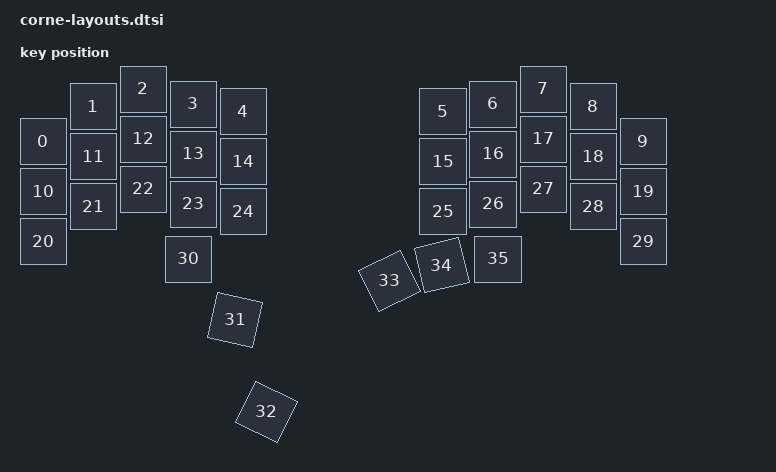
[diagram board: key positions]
/*
 * FILE: corne-layouts.dtsi
 *
 * Physical key layout for the Corne keyboard, consumed by ZMK Studio.
 * Included by corne.dtsi, so it is shared across both halves automatically.
 *
 * This file tells ZMK Studio the exact physical position (x, y), size (w, h),
 * and rotation angle of every key on the PCB — 36 keys active across both
 * halves.  Without this, the Studio visual editor cannot render the keyboard
 * correctly for live remapping over USB or BLE.
 *
 * It also contains the position map (corne_position_map) that bridges logical
 * matrix indices used by keymap layer arrays to physical key positions shown
 * in the editor GUI.
 *
 * Edit this file when you need to:
 *   - Correct the physical position or rotation of a key in ZMK Studio
 *   - Add or remove keys if you build a modified Corne variant
 *   - Adjust the position map after changing the matrix row/column count
 *
 * Units: all coordinates and sizes are in 1/100 U, where 100 = one standard
 * 1u key ≈ 19.05 mm.  Rotation values are in 1/100 degree.
 */

#include <physical_layouts.dtsi>

/* ─── Physical Layout ────────────────────────────────────────────────────────── */

/ {
    /* layout_0 describes the precise physical position, size, and rotation of
     * every key on the Corne PCB.  ZMK Studio uses this data to render the
     * visual keymap editor with accurate key shapes and angles.
     *
     * Each key uses key_physical_attrs with seven parameters:
     *
     *   w   — key width,  in 1/100 U  (100 = one standard 1u key ≈ 19.05 mm)
     *   h   — key height, in 1/100 U
     *   x   — left-edge X from the keyboard origin, in 1/100 U
     *   y   — top-edge  Y from the keyboard origin, in 1/100 U
     *   rot — rotation angle in 1/100 degree (positive = clockwise)
     *         0 = no rotation
     *   rx  — X coordinate of the rotation center, in 1/100 U
     *   ry  — Y coordinate of the rotation center, in 1/100 U
     *         Both are 0 when the key has no rotation (rx/ry are irrelevant).
     *
     * The Corne's column-stagger is reflected in the varying y values: the
     * middle-finger column sits highest (smallest y), the pinky lowest.
     *
     * All 36 keys are listed in keymap-index order:
     *   Indices  0-9   = top row    (left 0-4,  right  5-9)
     *   Indices 10-19  = home row   (left 10-14, right 15-19)
     *   Indices 20-29  = bottom row (left 20-24, right 25-29)
     *   Indices 30-35  = thumb row  (left 30-32, right 33-35) */
    layout_0: layout_0 {
        compatible = "zmk,physical-layout";
        display-name = "LAYOUT";

        /* Links this layout to its scan driver and matrix transform so ZMK
         * knows which hardware maps onto which physical key positions. */
        kscan = <&kscan0>;
        transform = <&default_transform>;

        keys  //                     w   h    x    y     rot    rx    ry

            /* ── Top row — left half (outer/pinky → inner/index) ─────────────── */
            /* Index 0: left-ring top */
            = <&key_physical_attrs 100 100  100  105       0     0     0>
            /* Index 1: left-middle top — raised high relative to pinky (y=35) */
            , <&key_physical_attrs 100 100  200   35       0     0     0>
            /* Index 2: left-index top — tallest column position (y=0, at origin) */
            , <&key_physical_attrs 100 100  300    0       0     0     0>
            /* Index 3: left inner-index top — steps back down slightly */
            , <&key_physical_attrs 100 100  400   30       0     0     0>
            /* Index 4: left innermost-column top (closest to split gap) */
            , <&key_physical_attrs 100 100  500   45       0     0     0>

            /* ── Top row — right half (inner/index → outer/pinky) ─────────────── */
            /* Index 5: right innermost-column top — mirrors left index 4 */
            , <&key_physical_attrs 100 100  900   45       0     0     0>
            /* Index 6: right inner-index top */
            , <&key_physical_attrs 100 100 1000   30       0     0     0>
            /* Index 7: right-index top — tallest column on the right half */
            , <&key_physical_attrs 100 100 1100    0       0     0     0>
            /* Index 8: right-middle top — raised column */
            , <&key_physical_attrs 100 100 1200   35       0     0     0>
            /* Index 9: right-ring top */
            , <&key_physical_attrs 100 100 1300  105       0     0     0>

            /* ── Home row — left half ────────────────────────────────────────── */
            /* Each key is exactly 100 units (1u) below its top-row counterpart. */
            /* Index 10: left-ring home */
            , <&key_physical_attrs 100 100  100  205       0     0     0>
            /* Index 11: left-middle home */
            , <&key_physical_attrs 100 100  200  135       0     0     0>
            /* Index 12: left-index home */
            , <&key_physical_attrs 100 100  300  100       0     0     0>
            /* Index 13: left inner-index home */
            , <&key_physical_attrs 100 100  400  130       0     0     0>
            /* Index 14: left innermost-column home */
            , <&key_physical_attrs 100 100  500  145       0     0     0>

            /* ── Home row — right half ───────────────────────────────────────── */
            /* Index 15: right innermost-column home */
            , <&key_physical_attrs 100 100  900  145       0     0     0>
            /* Index 16: right inner-index home */
            , <&key_physical_attrs 100 100 1000  130       0     0     0>
            /* Index 17: right-index home */
            , <&key_physical_attrs 100 100 1100  100       0     0     0>
            /* Index 18: right-middle home */
            , <&key_physical_attrs 100 100 1200  135       0     0     0>
            /* Index 19: right-ring home */
            , <&key_physical_attrs 100 100 1300  205       0     0     0>

            /* ── Bottom row — left half ──────────────────────────────────────── */
            /* Index 20: left-ring bottom */
            , <&key_physical_attrs 100 100  100  305       0     0     0>
            /* Index 21: left-middle bottom */
            , <&key_physical_attrs 100 100  200  235       0     0     0>
            /* Index 22: left-index bottom */
            , <&key_physical_attrs 100 100  300  200       0     0     0>
            /* Index 23: left inner-index bottom */
            , <&key_physical_attrs 100 100  400  230       0     0     0>
            /* Index 24: left innermost-column bottom */
            , <&key_physical_attrs 100 100  500  245       0     0     0>

            /* ── Bottom row — right half ─────────────────────────────────────── */
            /* Index 25: right innermost-column bottom */
            , <&key_physical_attrs 100 100  900  245       0     0     0>
            /* Index 26: right inner-index bottom */
            , <&key_physical_attrs 100 100 1000  230       0     0     0>
            /* Index 27: right-index bottom */
            , <&key_physical_attrs 100 100 1100  200       0     0     0>
            /* Index 28: right-middle bottom */
            , <&key_physical_attrs 100 100 1200  235       0     0     0>
            /* Index 29: right-ring bottom */
            , <&key_physical_attrs 100 100 1300  305       0     0     0>

            /* ── Thumb cluster — left half ───────────────────────────────────── */
            /* The three left thumb keys fan outward from the wrist toward the
             * palm.  Keys 31 and 32 carry rotation so they follow the natural
             * arc of the thumb rather than sitting in a straight horizontal row.
             *
             * Rotation center coordinates (rx, ry) define the pivot point.
             * The key's (x, y) position is where the key sits BEFORE rotation;
             * after rotation the key visually moves around its pivot. */

            /* Index 30: left thumb outer — no rotation, flat anchor key. */
            , <&key_physical_attrs 100 100  390  340       0     0     0>

            /* Index 31: left thumb middle — rotated +13° clockwise (rot=1300).
             * Pivot at (rx=0, ry=425): below and left of the key, swinging it
             * outward to follow the thumb's natural arc. */
            , <&key_physical_attrs 100 100  490  340    1300     0   425>

            /* Index 32: left thumb inner — rotated +26° clockwise (rot=2600).
             * Pivot at (rx=0, ry=460): deeper pivot for a wider fan angle.
             * This key sits closest to the wrist and angles most steeply. */
            , <&key_physical_attrs 100 100  590  360    2600     0   460>

            /* ── Thumb cluster — right half ──────────────────────────────────── */
            /* The right thumb fan is a mirror image: negative rotation angles
             * swing keys counter-clockwise. */

            /* Index 33: right thumb inner — rotated −26° (rot=-2600).
             * Pivot at (rx=950, ry=460): symmetric with left thumb index 32. */
            , <&key_physical_attrs 100 100  815  340 (-2600)   950   460>

            /* Index 34: right thumb middle — rotated −13° (rot=-1300).
             * Pivot at (rx=1050, ry=425): symmetric with left thumb index 31. */
            , <&key_physical_attrs 100 100  905  330 (-1300)  1050   425>

            /* Index 35: right thumb outer — no rotation, flat anchor key. */
            , <&key_physical_attrs 100 100 1010  340       0     0     0>
            ;
    };

/* ─── ZMK Studio Position Map ────────────────────────────────────────────────── */

    /* zmk,physical-layout-position-map bridges the gap between physical layout
     * indices (how keys are numbered in layout_0 above) and the logical matrix
     * indices that keymap layer arrays use.  ZMK Studio reads this map to know
     * which key to highlight in the editor when you click on a binding.
     *
     * "complete" declares that every logical key position is accounted for here —
     * none are hidden or omitted.  Without it, Studio would treat unmentioned
     * keys as unmapped and refuse to show them in the editor.
     *
     * The positions array is laid out visually to match the keyboard's physical
     * rows.  Numbers are the sequential keymap indices (0-35) read left-to-right
     * across each row.  The blank columns at the ends of the thumb row indicate
     * that the Corne has no physical keys in those corner positions; ZMK Studio
     * renders them as empty space. */
    corne_position_map {
        compatible = "zmk,physical-layout-position-map";

        complete;

        LAYOUT {
            physical-layout = <&layout_0>;
            positions
                /* Top row: 5 left (0-4), 5 right (5-9) */
                = < 0  1  2  3  4  5  6  7  8  9>
                /* Home row */
                , <10 11 12 13 14 15 16 17 18 19>
                /* Bottom row */
                , <20 21 22 23 24 25 26 27 28 29>
                /* Thumb row: 3 left (30-32), 3 right (33-35) */
                , <         30 31 32 33 34 35         >;
        };
    };
};
